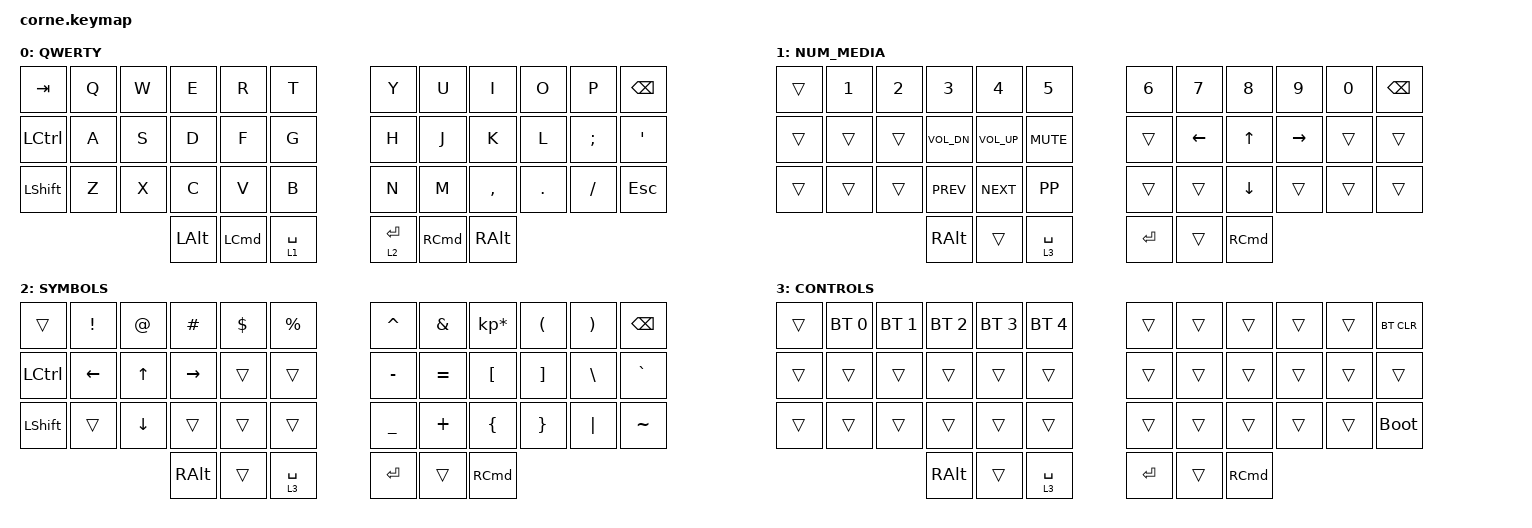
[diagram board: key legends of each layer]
/*
* Copyright (c) 2020 The ZMK Contributors
*
* SPDX-License-Identifier: MIT
*/

#include <behaviors.dtsi>
#include <dt-bindings/zmk/keys.h>
#include <dt-bindings/zmk/bt.h>
// #include <dt-bindings/zmk/outputs.h>

/*                KEY POSITIONS

╭────────────────────────╮ ╭────────────────────────╮
│  1   2   3   4   5   6 │ │  7   8   9  10  11  12 │
│ 13  14  15  16  17  18 │ │ 19  20  21  22  23  24 │
│ 25  26  27  28  29  30 │ │ 31  32  33  34  35  36 │
╰───────────╮ 37  38  39 │ │ 40  41  42 ╭───────────╯
            ╰────────────╯ ╰────────────╯
*/

#define QWERTY 0
#define NUM_MEDIA 1
#define SYMBOLS 2
#define CONTROLS 3

/ {
  
  behaviors {
    ht: hold_tap
    {
      compatible = "zmk,behavior-hold-tap";
      label = "HOLD_ESC_TAP_TAB";
      #binding-cells = <2>;
      flavor = "tap-preferred";
      tapping-term-ms = <100>;// <---[[produces tap if held longer than tapping-term-ms]]
      quick-tap-ms = <200>;// https://zmk.dev/docs/behaviors/hold-tap
      bindings = <&kp>, <&kp>;
    };
  };
  
  keymap {
    compatible = "zmk,keymap";
    
    QWERTY {
      
      bindings = <
      &kp TAB   &kp Q &kp W       &kp E   &kp R &kp T    &kp Y &kp U &kp I     &kp O   &kp P    &kp BSPC
      &kp LCTRL &kp A &kp S       &kp D   &kp F &kp G    &kp H &kp J &kp K     &kp L   &kp SEMI &kp SQT
      &kp LSHFT &kp Z &kp X       &kp C   &kp V &kp B    &kp N &kp M &kp COMMA &kp DOT &kp FSLH &kp ESC
      &kp LALT  &kp LCMD &lt 1 SPACE &lt 2 RET &kp RCMD &kp RALT
      >;
    };
    
    NUM_MEDIA {
      
      bindings = <
      &trans   &kp N1 &kp N2      &kp N3       &kp N4       &kp N5     &kp N6 &kp N7   &kp N8   &kp N9    &kp N0 &kp BSPC
      &trans   &trans &trans      &kp K_VOL_DN &kp K_VOL_UP &kp K_MUTE &trans &kp LEFT &kp UP   &kp RIGHT &trans &trans
      &trans   &trans &trans      &kp K_PREV   &kp K_NEXT   &kp K_PP   &trans &trans   &kp DOWN &trans    &trans &trans
      &kp RALT &trans &lt 3 SPACE &kp RET      &trans       &kp RCMD
      >;
    };
    
    SYMBOLS {
      
      bindings = <
      &trans    &kp EXCL &kp AT      &kp HASH  &kp DLLR &kp PRCNT &kp CARET &kp AMPS  &kp KP_ASTERISK &kp LPAR &kp RPAR &kp BSPC
      &kp LCTRL &kp LEFT &kp UP      &kp RIGHT &trans   &trans    &kp MINUS &kp EQUAL &kp LBKT        &kp RBKT &kp BSLH &kp GRAVE
      &kp LSHFT &trans   &kp DOWN    &trans    &trans   &trans    &kp UNDER &kp PLUS  &kp LBRC        &kp RBRC &kp PIPE &kp TILDE
      &kp RALT  &trans   &lt 3 SPACE &kp RET   &trans   &kp RCMD
      >;
    };
    
    CONTROLS {
      
      bindings = <
      &trans   &bt BT_SEL 0 &bt BT_SEL 1 &bt BT_SEL 2 &bt BT_SEL 3 &bt BT_SEL 4 &trans &trans &trans &trans &trans &bt BT_CLR
      &trans   &trans       &trans       &trans       &trans       &trans       &trans &trans &trans &trans &trans &trans
      &trans   &trans       &trans       &trans       &trans       &trans       &trans &trans &trans &trans &trans &bootloader
      &kp RALT &trans       &lt 3 SPACE  &kp RET      &trans       &kp RCMD
      >;
    };
  };
};
